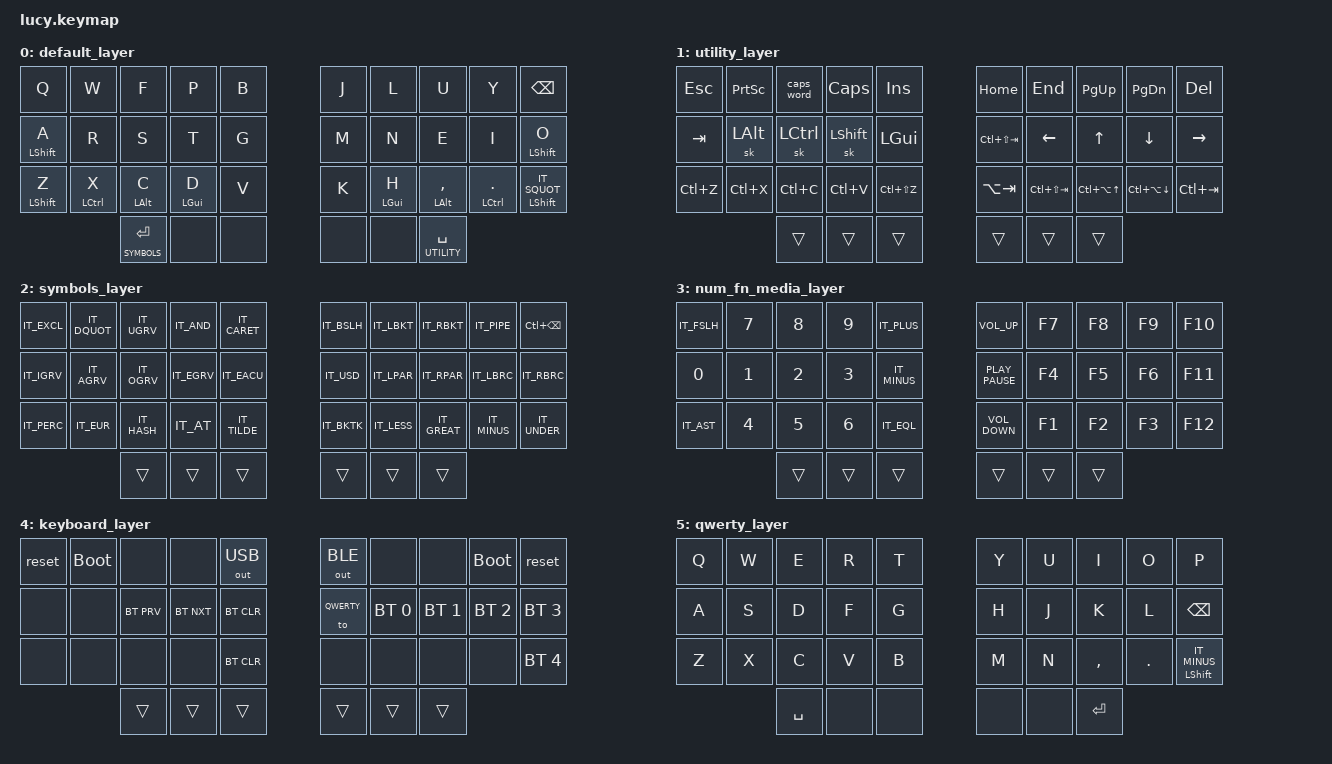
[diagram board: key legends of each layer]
/*
 * Copyright (c) 2020 The ZMK Contributors
 *
 * SPDX-License-Identifier: MIT
 */

#include "./boards/shields/lucy/italian.keycodes"

#include <behaviors.dtsi>
#include <dt-bindings/zmk/keys.h>
#include <dt-bindings/zmk/outputs.h>
#include <dt-bindings/zmk/bt.h>

// Base Colemak-DH layer
#define DEFAULT                 0

// Utility and navigation keys are here
#define UTILITY                 1

// Symbols and accented letters
#define SYMBOLS                 2

// Numbers on the left, functions on the right and only 3 keys for media
#define NUM_FN_MEDIA            3

// Accessed from NUM_FN_MEDIA through the top pinkies
#define KEYBOARD                4

// Qwerty layer in case I would like to use the keyboard for gaming
#define QWERTY                  5

&mt {
    //tapping-term-ms = <300>;
    //quick_tap_ms = <0>;
    //flavor = "tap-preferred";
    //retro-tap;
};

// configure the sticky layer behavior
&sl {
    release-after-ms = <3000>;
};

/ {

    combos {
        compatible = "zmk,combos";

        // Activate the KEYBOARD layer for only one key press
        combo_goto_keyboard {
            timeout-ms = <75>;
            layers= <NUM_FN_MEDIA>;
            key-positions = <0 9>;
            bindings = <&sl KEYBOARD>;
        };

        // Get back to default layer by pressing both thumb keys
        combo_escape_qwerty {
            timeout-ms = <50>;
            layers= <QWERTY>;
            key-positions = <30 35>;
            bindings = <&to DEFAULT>;
        };

        combo_emergency_back_to_default {
            timeout-ms = <30>;
            key-positions = <10 19 20 29>;
            bindings = <&to DEFAULT>;
        };
   };

    conditional_layers {
        compatible = "zmk,conditional-layers";
        tri_layer {
            if-layers = <1 2>;
            then-layer = <3>;
        };
    };

    behaviors {

        // Behaviors for mods in the bottom row
        m_left: mods_left {
            compatible = "zmk,behavior-hold-tap";
            label = "MODS_LEFT";
            #binding-cells = <2>;
            //flavor = "tap-unless-interrupted";
            flavor = "tap-preferred";
            tapping-term-ms = <175>;    // 200
            quick-tap-ms = <125>;
            bindings = <&kp>, <&kp>;
            hold-trigger-key-positions = <5 6 7 8 9 15 16 17 18 19 25 26 27 28 29>;    // <---[[right-hand keys]]
        };

        m_right: right_mods {
            compatible = "zmk,behavior-hold-tap";
            label = "MODS_RIGHT";
            #binding-cells = <2>;
            //flavor = "tap-unless-interrupted";
            flavor = "tap-preferred";
            tapping-term-ms = <175>;    // 200
            quick-tap-ms = <125>;
            bindings = <&kp>, <&kp>;
            hold-trigger-key-positions = <0 1 2 3 4 10 11 12 13 14 20 21 22 23 24>;    // <---[[left-hand keys]]
       };

    // Layer on left thumb is for quick access to symbols used while typing so I need a shorter window for triggering
    // the hold behavior. This is possible as RETURN is not used in the middle of something. Balanced behavior is perfect here
    ltt: left_thumb_toggle {
            compatible = "zmk,behavior-hold-tap";
            label = "LEFT_LAYER_TOGGLE";
            #binding-cells = <2>;
            tapping-term-ms = <125>;    // 150
            quick-tap-ms = <0>;
            flavor = "balanced";
            bindings = <&mo>, <&kp>;
       };
    };

// RIGHT NOW IT IS MEANT TO BE USED WITH THE ITALIAN QWERTY LAYOUT

        keymap {
                compatible = "zmk,keymap";

//  DEFAULT-DH
       		default_layer {
		bindings = <
		&kp Q &kp W &kp F &kp P &kp B                                               &kp J &kp L  &kp U    &kp Y   &kp BKSP
		&m_left LSHFT A &kp R &kp S &kp T &kp G 			                        &kp M &kp N &kp E &kp I &m_right LSHFT O
		&m_left LSHFT Z &m_left LCTRL X &m_left LALT C &m_left LGUI D &kp V		    &kp K &m_right LGUI H  &m_right LALT CMMA &m_right LCTRL DOT &m_right LSHFT IT_SQUOT
          	                                   &ltt SYMBOLS RET &none &none  		&none &none &lt UTILITY SPC
		>;
		};

// UTILITY LAYER
// Back and Forward omitted
// Ctrl+Shift+Tab is duplicated
		    utility_layer {
		bindings = <
		&kp ESC &kp PRINTSCREEN &caps_word &kp CAPS &kp INSERT          &kp HOME &kp END &kp PAGE_UP &kp PAGE_DOWN &kp DEL
		&kp TAB &sk LALT &sk LCTRL &sk LSHIFT &kp LGUI                 	&kp LC(LS(TAB)) &kp LEFT &kp UP &kp DOWN &kp RIGHT
		&kp LC(Z) &kp LC(X) &kp LC(C) &kp LC(V) &kp LC(LS(Z))           &kp LA(TAB) &kp LC(LS(TAB)) &kp LC(LA(UP)) &kp LC(LA(DOWN)) &kp LC(TAB)
					                     &trans &trans &trans           &trans &trans &trans
		>;
		};

// SYMBOLS LAYER
// A few symbols are missing: ° (grade), £ (pound)
            symbols_layer {
		bindings = <
		&kp IT_EXCL &kp IT_DQUOT &kp IT_UGRV &kp IT_AND  &kp IT_CARET           &kp IT_BSLH &kp IT_LBKT &kp IT_RBKT &kp IT_PIPE &kp LC(BKSP)
		&kp IT_IGRV &kp IT_AGRV &kp IT_OGRV &kp IT_EGRV &kp IT_EACU             &kp IT_USD &kp IT_LPAR &kp IT_RPAR &kp IT_LBRC &kp IT_RBRC
		&kp IT_PERC &kp IT_EUR &kp IT_HASH &kp IT_AT &kp IT_TILDE               &kp IT_BKTK &kp IT_LESS &kp IT_GREAT &kp IT_MINUS &kp IT_UNDER
					                             &trans &trans &trans            &trans &trans &trans
		>;
		};

// NUMBERS, FUNCTIONS AND MEDIA KEYS
// Only play/pause and volume control fit in this layout
// TODO: consider the idea of using combos to access other media keys (eg: F7+F8, F4+F5, ...)
		    num_fn_media_layer {
		bindings = <
		&kp IT_FSLH &kp N7 &kp N8 &kp N9 &kp IT_PLUS                            &kp K_VOLUME_UP &kp F7 &kp F8 &kp F9 &kp F10
        &kp N0 &kp N1 &kp N2 &kp N3 &kp IT_MINUS                                &kp K_PLAY_PAUSE &kp F4 &kp F5 &kp F6 &kp F11
        &kp IT_AST &kp N4 &kp N5 &kp N6 &kp IT_EQL                              &kp K_VOLUME_DOWN &kp F1 &kp F2 &kp F3 &kp F12
                               &trans &trans &trans                             &trans &trans &trans
		>;
		};

// KEYBOARD LAYER
		    keyboard_layer {
		bindings = <
		&reset  &bootloader &none &none &out OUT_USB 			        &out OUT_BLE &none   &none   &bootloader  &reset
		&none &none &bt BT_PRV &bt BT_NXT &bt BT_CLR  			        &to QWERTY &bt BT_SEL 0  &bt BT_SEL 1 &bt BT_SEL 2 &bt BT_SEL 3
		&none  &none &none &none &bt BT_CLR   				            &none &none &none &none &bt BT_SEL 4
				            	&trans &trans &trans  					&trans &trans &trans
		>;
		};

//  QWERTY, mainly for gaming or letting others try the keyboard
       		qwerty_layer {
		bindings = <
		&kp Q &kp W &kp E &kp R  &kp T 						&kp Y &kp U  &kp I &kp O &kp P
		&kp A &kp S &kp D &kp F &kp G 			        	&kp H &kp J &kp K &kp L &kp BKSP
		&kp Z &kp X &kp C &kp V &kp B				        &kp M &kp N &kp CMMA &kp DOT &mt LSHFT IT_MINUS
          				&kp SPC &none &none   		        &none &none &kp RET
		>;
		};

	};
};
